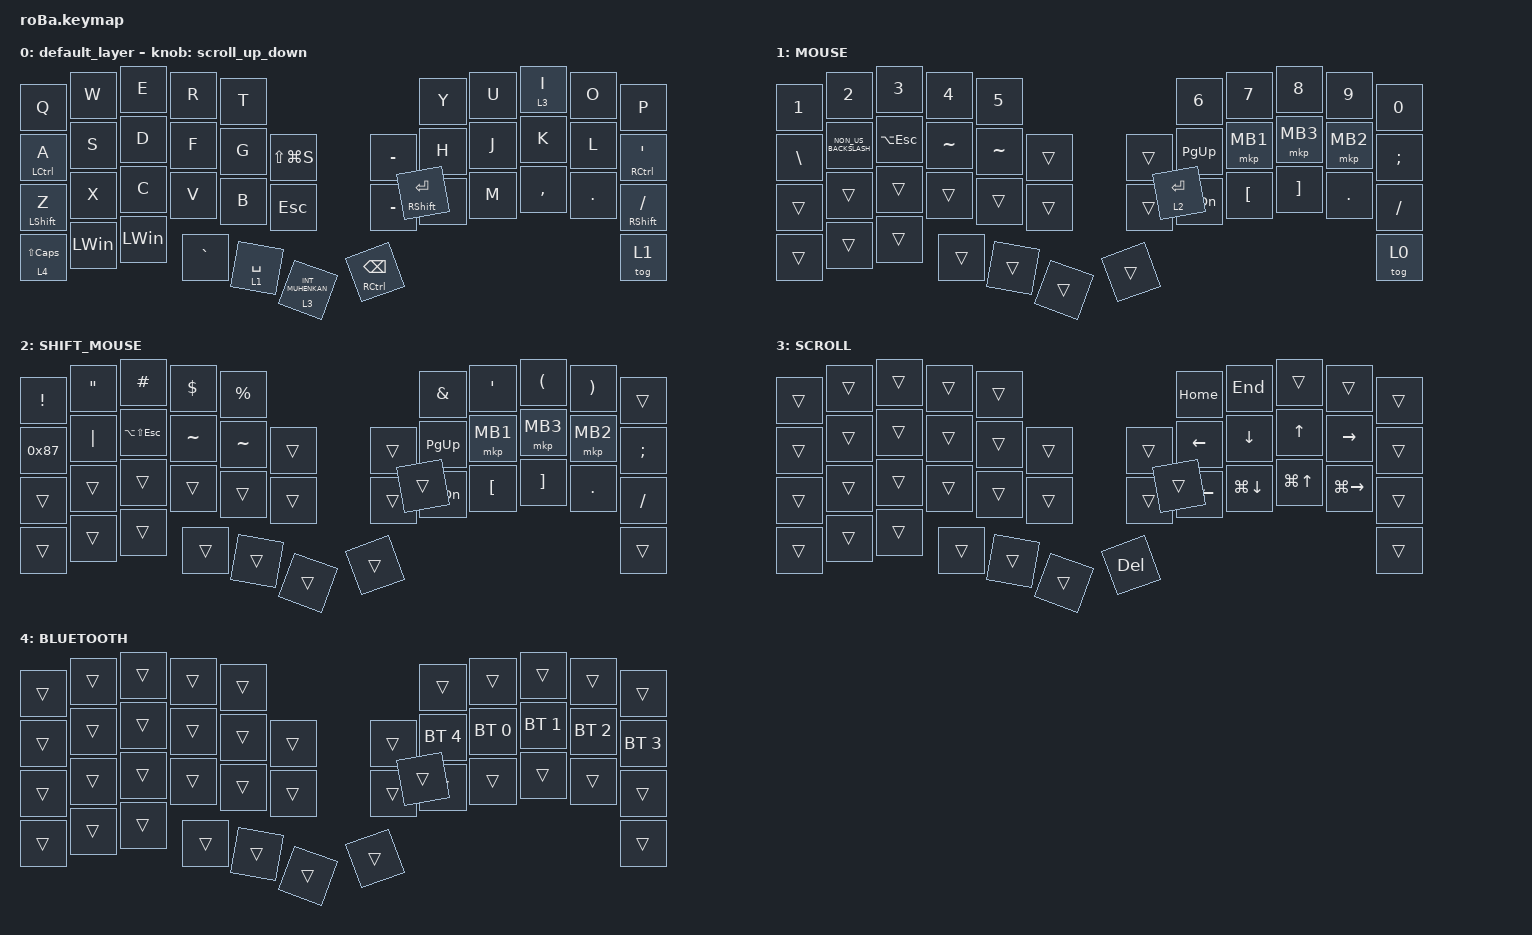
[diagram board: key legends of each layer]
#include <behaviors.dtsi>
#include <dt-bindings/zmk/bt.h>
#include <dt-bindings/zmk/keys.h>
#include <dt-bindings/zmk/pointing.h>

// OS設定を日本語キーボードのまま使用するための変換定義
// reffer from https://note.com/kloir_z/n/n314e739f03a1

#define JP_DQUOTE       AT                // "
#define JP_AMPERSAND    CARET             // &
#define JP_QUOTE        AMPERSAND         // '
#define JP_EQUAL        UNDER             // =
#define JP_CARET        EQUAL             // ^
#define JP_YEN          0x89              // ¥
#define JP_PLUS         COLON             // +
#define JP_TILDE        PLUS              // ~
#define JP_PIPE         LS(0x89)          // |
#define JP_AT           LEFT_BRACKET      // @
#define JP_COLON        SINGLE_QUOTE      // :
#define JP_ASTERISK     DOUBLE_QUOTES     // *
#define JP_BACKQUOTE    LEFT_BRACE        // `
#define JP_UNDERSCORE   LS(0x87)          // _
#define JP_LBRACKET     RIGHT_BRACKET     // [
#define JP_RBRACKET     BACKSLASH         // ]
#define JP_LPAREN       ASTERISK          // (
#define JP_RPAREN       LEFT_PARENTHESIS  // )
#define JP_LBRACE       RIGHT_BRACE       // {
#define JP_RBRACE       PIPE              // }
#define JP_KANA         LANGUAGE_1        // かな
#define JP_EISU         LANGUAGE_2        // 英数
#define JP_HANZEN       GRAVE             // 半角/全角
// reffer end

// ロータリーエンコーダにスクロールを割り当て
// reffer from https://note.com/fals_book/n/n7d9e1981317f
#define ZMK_MOUSE_POINTING_SCRL_VAL 10
// reffer end

&mt {
    flavor = "balanced";
    quick-tap-ms = <0>;
};

&trackball {
    automouse-layer = <1>;
    scroll-layers = <3>;

    // arrows {
    //     layers = <3>;
    //     bindings =
    //         <&kp RIGHT_ARROW>,
    //         <&kp LEFT_ARROW>,
    //         <&kp UP_ARROW>,
    //         <&kp DOWN_ARROW>;
    //     tick = <10>;
    //     wait-ms = <5>;
    //     tap-ms = <5>;
    // };
};

/ {
    combos {
        compatible = "zmk,combos";

        tab {
            bindings = <&kp TAB>;
            key-positions = <11 12>;
        };

        shift_tab {
            bindings = <&kp LS(TAB)>;
            key-positions = <12 13>;
        };

        muhennkann {
            bindings = <&to_layer_0 INT_MUHENKAN>;
            key-positions = <11 10>;
        };

        double_quotation {
            bindings = <&kp DOUBLE_QUOTES>;
            key-positions = <20 21>;
        };

        eq {
            bindings = <&kp EQUAL>;
            key-positions = <24 25>;
        };
    };

    macros {
        to_layer_0: to_layer_0 {
            compatible = "zmk,behavior-macro-one-param";
            #binding-cells = <1>;
            bindings = <&to 0 &macro_param_1to1 &kp MACRO_PLACEHOLDER>;
            label = "TO_LAYER_0";
        };
    };

    behaviors {
        lt_to_layer_0: lt_to_layer_0 {
            compatible = "zmk,behavior-hold-tap";
            label = "LAYER_TAP_TO_0";
            bindings = <&mo>, <&to_layer_0>;

            #binding-cells = <2>;
            tapping-term-ms = <200>;
        };
        scroll_up_down: behavior_sensor_rotate_mouse_wheel_up_down {
            compatible = "zmk,behavior-sensor-rotate";
            #sensor-binding-cells = <0>;
            bindings = <&msc SCRL_DOWN>, <&msc SCRL_UP>;
            tap-ms = <20>;
        };
    };

    keymap {
        compatible = "zmk,keymap";

        default_layer {
            bindings = <
&kp Q               &kp W         &kp E         &kp R      &kp T                                                                &kp Y                  &kp U  &lt 3 I    &kp O    &kp P
&mt LCTRL A         &kp S         &kp D         &kp F      &kp G        &kp LS(LG(S))                      &kp MINUS            &kp H                  &kp J  &kp K      &kp L    &mt RCTRL SQT
&mt LEFT_SHIFT Z    &kp X         &kp C         &kp V      &kp B        &kp ESCAPE                         &kp MINUS            &kp N                  &kp M  &kp COMMA  &kp DOT  &mt RIGHT_SHIFT SLASH
&lt 4 LS(CAPSLOCK)  &kp LEFT_WIN  &kp LEFT_WIN  &kp GRAVE  &lt 1 SPACE  &lt_to_layer_0 3 INT_MUHENKAN      &mt RCTRL BACKSPACE  &mt RIGHT_SHIFT ENTER                             &tog 1
            >;

            sensor-bindings = <&scroll_up_down>;
        };

        MOUSE {
            bindings = <
&kp NUMBER_1  &kp NUMBER_2          &kp NUMBER_3    &kp NUMBER_4  &kp N5                         &kp NUMBER_6   &kp N7            &kp N8             &kp N9      &kp N0
&kp BSLH      &kp NON_US_BACKSLASH  &kp LA(ESCAPE)  &kp TILDE     &kp TILDE  &trans      &trans  &kp PAGE_UP    &mkp MB1          &mkp MB3           &mkp MB2    &kp SEMICOLON
&trans        &trans                &trans          &trans        &trans     &trans      &trans  &kp PAGE_DOWN  &kp LEFT_BRACKET  &kp RIGHT_BRACKET  &kp PERIOD  &kp SLASH
&trans        &trans                &trans          &trans        &trans     &trans      &trans  &lt 2 ENTER                                                     &tog 0
            >;
        };

        SHIFT_MOUSE {
            bindings = <
&kp EXCLAMATION  &kp DOUBLE_QUOTES  &kp HASH            &kp DOLLAR  &kp PERCENT                      &kp AMPERSAND  &kp SQT           &kp LEFT_PARENTHESIS  &kp RIGHT_PARENTHESIS  &trans
&kp 0x87         &kp PIPE           &kp LA(LS(ESCAPE))  &kp TILDE   &kp TILDE    &trans      &trans  &kp PAGE_UP    &mkp MB1          &mkp MB3              &mkp MB2               &kp SEMICOLON
&trans           &trans             &trans              &trans      &trans       &trans      &trans  &kp PAGE_DOWN  &kp LEFT_BRACKET  &kp RIGHT_BRACKET     &kp PERIOD             &kp SLASH
&trans           &trans             &trans              &trans      &trans       &trans      &trans  &trans                                                                        &trans
            >;
        };

        SCROLL {
            bindings = <
&trans  &trans  &trans  &trans  &trans                          &kp HOME            &kp END         &trans            &trans         &trans
&trans  &trans  &trans  &trans  &trans  &trans      &trans      &kp LEFT_ARROW      &kp DOWN_ARROW  &kp UP_ARROW      &kp RIGHT      &trans
&trans  &trans  &trans  &trans  &trans  &trans      &trans      &kp LG(LEFT_ARROW)  &kp LG(DOWN)    &kp LG(UP_ARROW)  &kp LG(RIGHT)  &trans
&trans  &trans  &trans  &trans  &trans  &trans      &kp DELETE  &trans                                                               &trans
            >;
        };

        BLUETOOTH {
            bindings = <
&trans  &trans  &trans  &trans  &trans                      &trans        &trans        &trans        &trans        &trans
&trans  &trans  &trans  &trans  &trans  &trans      &trans  &bt BT_SEL 4  &bt BT_SEL 0  &bt BT_SEL 1  &bt BT_SEL 2  &bt BT_SEL 3
&trans  &trans  &trans  &trans  &trans  &trans      &trans  &trans        &trans        &trans        &trans        &trans
&trans  &trans  &trans  &trans  &trans  &trans      &trans  &trans                                                  &trans
            >;
        };
    };
};
